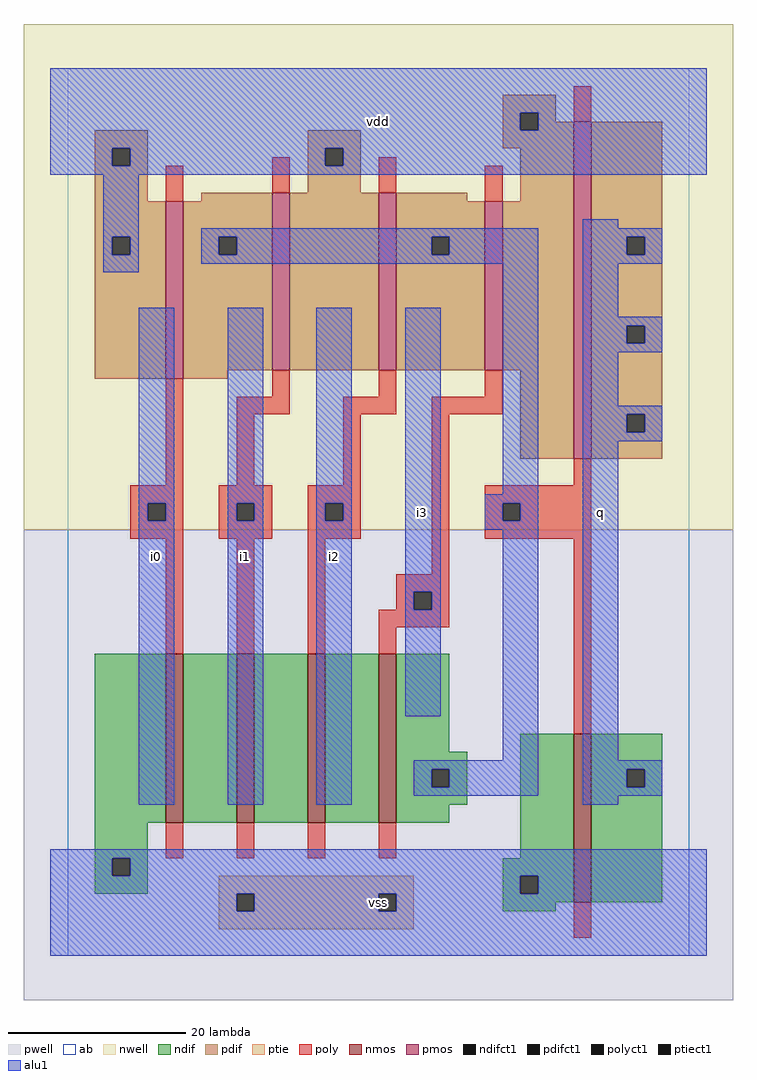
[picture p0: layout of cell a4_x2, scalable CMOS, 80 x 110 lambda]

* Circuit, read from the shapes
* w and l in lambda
.subckt a4_x2 i0 i1 i2 i3 q vdd vss
M1 n1 i0 vss vss nfet w=19 l=2
M2 n2 i1 n1 vss nfet w=19 l=2
M3 n3 i2 n2 vss nfet w=19 l=2
M4 n4 i3 n3 vss nfet w=19 l=2
M5 q n4 vss vss nfet w=19 l=2
M6 n4 i0 vdd n5 pfet w=20 l=2
M7 vdd i1 n4 n5 pfet w=20 l=2
M8 n4 i2 vdd n5 pfet w=20 l=2
M9 vdd i3 n4 n5 pfet w=19 l=2
M10 q n4 vdd n5 pfet w=38 l=2
.ends

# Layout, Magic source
magic
tech scmos
<< ab >>
rect 0 0 70 100
<< nwell >>
rect -5 48 75 105
<< pwell >>
rect -5 -5 75 48
<< poly >>
rect 57 94 59 98
rect 11 85 13 89
rect 23 86 25 90
rect 35 86 37 90
rect 47 85 49 89
rect 11 53 13 65
rect 23 63 25 66
rect 35 63 37 66
rect 47 63 49 66
rect 19 61 25 63
rect 31 61 37 63
rect 41 61 49 63
rect 19 53 21 61
rect 31 53 33 61
rect 7 51 13 53
rect 7 49 9 51
rect 11 49 13 51
rect 7 47 13 49
rect 17 51 23 53
rect 17 49 19 51
rect 21 49 23 51
rect 17 47 23 49
rect 27 51 33 53
rect 27 49 29 51
rect 31 49 33 51
rect 27 47 33 49
rect 11 34 13 47
rect 19 34 21 47
rect 27 34 29 47
rect 41 43 43 61
rect 57 53 59 56
rect 47 51 59 53
rect 47 49 49 51
rect 51 49 59 51
rect 47 47 59 49
rect 37 41 43 43
rect 37 39 39 41
rect 41 39 43 41
rect 35 37 43 39
rect 35 34 37 37
rect 57 25 59 47
rect 11 11 13 15
rect 19 11 21 15
rect 27 11 29 15
rect 35 11 37 15
rect 57 2 59 6
<< ndif >>
rect 3 15 11 34
rect 13 15 19 34
rect 21 15 27 34
rect 29 15 35 34
rect 37 23 43 34
rect 37 21 45 23
rect 37 19 41 21
rect 43 19 45 21
rect 37 17 45 19
rect 37 15 43 17
rect 3 11 9 15
rect 51 11 57 25
rect 3 9 5 11
rect 7 9 9 11
rect 49 9 57 11
rect 3 7 9 9
rect 49 7 51 9
rect 53 7 57 9
rect 49 6 57 7
rect 59 21 67 25
rect 59 19 63 21
rect 65 19 67 21
rect 59 6 67 19
rect 49 5 55 6
<< pdif >>
rect 49 95 55 97
rect 49 93 51 95
rect 53 94 55 95
rect 53 93 57 94
rect 3 91 9 93
rect 3 89 5 91
rect 7 89 9 91
rect 27 91 33 93
rect 49 91 57 93
rect 3 85 9 89
rect 27 89 29 91
rect 31 89 33 91
rect 27 86 33 89
rect 15 85 23 86
rect 3 81 11 85
rect 3 79 5 81
rect 7 79 11 81
rect 3 65 11 79
rect 13 81 23 85
rect 13 79 17 81
rect 19 79 23 81
rect 13 66 23 79
rect 25 66 35 86
rect 37 85 45 86
rect 51 85 57 91
rect 37 81 47 85
rect 37 79 41 81
rect 43 79 47 81
rect 37 66 47 79
rect 49 66 57 85
rect 13 65 18 66
rect 51 56 57 66
rect 59 81 67 94
rect 59 79 63 81
rect 65 79 67 81
rect 59 71 67 79
rect 59 69 63 71
rect 65 69 67 71
rect 59 61 67 69
rect 59 59 63 61
rect 65 59 67 61
rect 59 56 67 59
<< alu1 >>
rect -2 95 72 100
rect -2 93 51 95
rect 53 93 72 95
rect -2 91 72 93
rect -2 89 5 91
rect 7 89 29 91
rect 31 89 72 91
rect -2 88 72 89
rect 4 81 8 88
rect 58 82 62 83
rect 4 79 5 81
rect 7 79 8 81
rect 4 77 8 79
rect 15 81 53 82
rect 15 79 17 81
rect 19 79 41 81
rect 43 79 53 81
rect 15 78 53 79
rect 8 51 12 73
rect 8 49 9 51
rect 11 49 12 51
rect 8 17 12 49
rect 18 51 22 73
rect 18 49 19 51
rect 21 49 22 51
rect 18 17 22 49
rect 28 51 32 73
rect 28 49 29 51
rect 31 49 32 51
rect 28 17 32 49
rect 38 41 42 73
rect 49 52 53 78
rect 47 51 53 52
rect 47 49 49 51
rect 51 49 53 51
rect 47 48 53 49
rect 38 39 39 41
rect 41 39 42 41
rect 38 27 42 39
rect 49 22 53 48
rect 39 21 53 22
rect 39 19 41 21
rect 43 19 53 21
rect 39 18 53 19
rect 58 81 67 82
rect 58 79 63 81
rect 65 79 67 81
rect 58 78 67 79
rect 58 72 62 78
rect 58 71 67 72
rect 58 69 63 71
rect 65 69 67 71
rect 58 68 67 69
rect 58 62 62 68
rect 58 61 67 62
rect 58 59 63 61
rect 65 59 67 61
rect 58 58 67 59
rect 58 22 62 58
rect 58 21 67 22
rect 58 19 63 21
rect 65 19 67 21
rect 58 18 67 19
rect 58 17 62 18
rect -2 11 72 12
rect -2 9 5 11
rect 7 9 72 11
rect -2 7 51 9
rect 53 7 72 9
rect -2 5 19 7
rect 21 5 35 7
rect 37 5 72 7
rect -2 0 72 5
<< ptie >>
rect 17 7 39 9
rect 17 5 19 7
rect 21 5 35 7
rect 37 5 39 7
rect 17 3 39 5
<< nmos >>
rect 11 15 13 34
rect 19 15 21 34
rect 27 15 29 34
rect 35 15 37 34
rect 57 6 59 25
<< pmos >>
rect 11 65 13 85
rect 23 66 25 86
rect 35 66 37 86
rect 47 66 49 85
rect 57 56 59 94
<< polyct1 >>
rect 9 49 11 51
rect 19 49 21 51
rect 29 49 31 51
rect 49 49 51 51
rect 39 39 41 41
<< ndifct1 >>
rect 41 19 43 21
rect 5 9 7 11
rect 51 7 53 9
rect 63 19 65 21
<< ptiect1 >>
rect 19 5 21 7
rect 35 5 37 7
<< pdifct1 >>
rect 51 93 53 95
rect 5 89 7 91
rect 29 89 31 91
rect 5 79 7 81
rect 17 79 19 81
rect 41 79 43 81
rect 63 79 65 81
rect 63 69 65 71
rect 63 59 65 61
<< labels >>
rlabel alu1 10 45 10 45 6 i0
rlabel alu1 20 45 20 45 6 i1
rlabel alu1 30 45 30 45 6 i2
rlabel alu1 35 6 35 6 6 vss
rlabel alu1 40 50 40 50 6 i3
rlabel alu1 35 94 35 94 6 vdd
rlabel alu1 60 50 60 50 6 q
<< end >>
